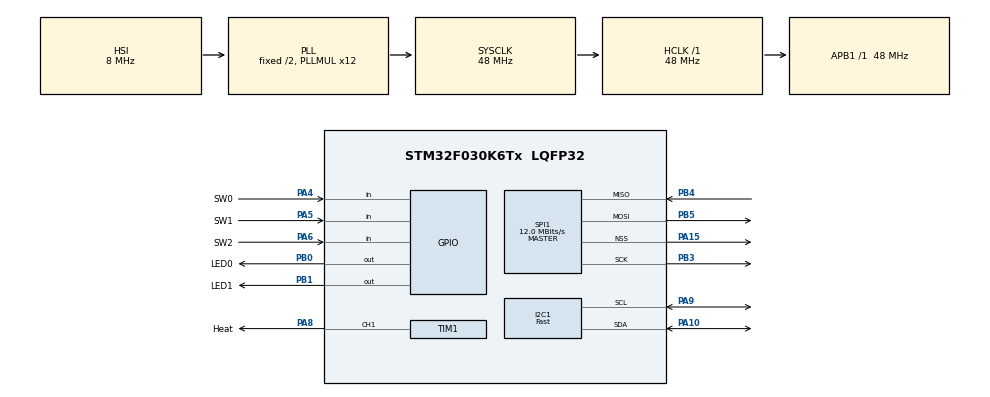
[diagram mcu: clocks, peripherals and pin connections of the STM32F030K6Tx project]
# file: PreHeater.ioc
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I2C1.I2C_Speed_Mode=I2C_Fast
I2C1.Timing=0x2010091A
Mcu.Family=STM32F0
Mcu.Name=STM32F030K6Tx
Mcu.Package=LQFP32
NVIC.TIM3_IRQn=true\:0\:0\:false\:false\:true\:true\:true
PA10.GPIO_PuPdOD=GPIO_NOPULL
PA10.Mode=I2C
PA10.Signal=I2C1_SDA
PA13.Mode=Serial_Wire
PA13.Signal=SYS_SWDIO
PA14.Mode=Serial_Wire
PA14.Signal=SYS_SWCLK
PA15.Mode=NSS_Signal_Hard_Output
PA15.Signal=SPI1_NSS
PA4.GPIO_Label=SW0
PA4.GPIO_PuPd=GPIO_PULLUP
PA4.Signal=GPIO_Input
PA5.GPIO_Label=SW1
PA5.GPIO_PuPd=GPIO_PULLUP
PA5.Signal=GPIO_Input
PA6.GPIO_Label=SW2
PA6.GPIO_PuPd=GPIO_PULLUP
PA6.Signal=GPIO_Input
PA8.GPIO_Label=Heat
PA8.GPIO_PuPd=GPIO_NOPULL
PA8.Signal=S_TIM1_CH1
PA9.GPIO_PuPdOD=GPIO_NOPULL
PA9.Mode=I2C
PA9.Signal=I2C1_SCL
PB0.GPIO_Label=LED0
PB0.Signal=GPIO_Output
PB1.GPIO_Label=LED1
PB1.Signal=GPIO_Output
PB3.Mode=Full_Duplex_Master
PB3.Signal=SPI1_SCK
PB4.GPIO_PuPd=GPIO_PULLUP
PB4.Mode=Full_Duplex_Master
PB4.Signal=SPI1_MISO
PB5.Mode=Full_Duplex_Master
PB5.Signal=SPI1_MOSI
ProjectManager.HeapSize=0x200
ProjectManager.StackSize=0x400
ProjectManager.TargetToolchain=STM32CubeIDE
RCC.AHBFreq_Value=48000000
RCC.APB1Freq_Value=48000000
RCC.APB1TimFreq_Value=48000000
RCC.HCLKFreq_Value=48000000
RCC.I2c1ClockSelection=RCC_I2C1CLKSOURCE_SYSCLK
RCC.PLLMUL=RCC_PLL_MUL12
RCC.SYSCLKFreq_VALUE=48000000
RCC.SYSCLKSource=RCC_SYSCLKSOURCE_PLLCLK
SH.S_TIM1_CH1.0=TIM1_CH1,PWM Generation1 CH1
SPI1.BaudRatePrescaler=SPI_BAUDRATEPRESCALER_4
SPI1.CalculateBaudRate=12.0 MBits/s
SPI1.DataSize=SPI_DATASIZE_8BIT
SPI1.Direction=SPI_DIRECTION_2LINES
SPI1.Mode=SPI_MODE_MASTER
SPI1.VirtualNSS=VM_NSSHARD
SPI1.VirtualType=VM_MASTER
TIM1.Channel-PWM\ Generation1\ CH1=TIM_CHANNEL_1
TIM1.Period=100-1
TIM1.Prescaler=0
TIM3.AutoReloadPreload=TIM_AUTORELOAD_PRELOAD_ENABLE
TIM3.Channel-Output\ Compare1\ No\ Output=TIM_CHANNEL_1
TIM3.Period=225-1
TIM3.Prescaler=32000-1
TIM3.Pulse-Output\ Compare1\ No\ Output=225-1
TIM3.TIM_MasterOutputTrigger=TIM_TRGO_UPDATE
VP_TIM1_VS_ClockSourceINT.Mode=Internal
VP_TIM3_VS_ClockSourceINT.Mode=Internal
VP_TIM3_VS_no_output1.Mode=Output Compare1 No Output
board=custom

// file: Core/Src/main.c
/* USER CODE BEGIN Header */
/**
  ******************************************************************************
  * @file           : main.c
  * @brief          : Main program body
  ******************************************************************************
  * @attention
  *
  * <h2><center>&copy; Copyright (c) 2020 STMicroelectronics.
  * All rights reserved.</center></h2>
  *
  * This software component is licensed by ST under BSD 3-Clause license,
  * the "License"; You may not use this file except in compliance with the
  * License. You may obtain a copy of the License at:
  *                        opensource.org/licenses/BSD-3-Clause
  *
  ******************************************************************************
  */
/* USER CODE END Header */
// test

#include "main.h"

/* USER CODE BEGIN Includes */
// https://github.com/olikraus/u8glib
// http://elastic-notes.blogspot.com/p/stm32-i2c-oled-ssd.html
// https://qiita.com/tlab/items/63cfce05881b63f4b782

#include "../u8glib/inc/u8g_arm.h"
#include "tmp75.h"
#include "pid.h"
/* USER CODE END Includes */

/* USER CODE BEGIN PD */
#define	LED0_ON()		HAL_GPIO_WritePin(LED0_GPIO_Port, LED0_Pin, GPIO_PIN_SET)
#define	LED0_OFF()		HAL_GPIO_WritePin(LED0_GPIO_Port, LED0_Pin, GPIO_PIN_RESET)
#define	LED1_ON()		HAL_GPIO_WritePin(LED1_GPIO_Port, LED1_Pin, GPIO_PIN_SET)
#define	LED1_OFF()		HAL_GPIO_WritePin(LED1_GPIO_Port, LED1_Pin, GPIO_PIN_RESET)

#define	SW0_Read()	HAL_GPIO_ReadPin(SW0_GPIO_Port, SW0_Pin)
#define	SW1_Read()	HAL_GPIO_ReadPin(SW1_GPIO_Port, SW1_Pin)
#define	SW2_Read()	HAL_GPIO_ReadPin(SW2_GPIO_Port, SW2_Pin)

#define	SV_Offset_X			64+20
#define	PV_Offset_X			10+20
#define	STAT_Offset_X			0

/* USER CODE END PD */

I2C_HandleTypeDef hi2c1;

SPI_HandleTypeDef hspi1;

TIM_HandleTypeDef htim1;
TIM_HandleTypeDef htim3;

/* USER CODE BEGIN PV */
 /* Private variables ---------------------------------------------------------*/
uint16_t	counter = 0;
uint16_t	PWM_DATA = 0;

volatile	uint8_t    PI_ACT = 0;
volatile	uint16_t		PI_Set_Temp = 0, PI_NowTemp = 0;
volatile	uint8_t		LED_Flag[2] = {0};
volatile	uint8_t		PV = 0;

volatile	uint8_t SW0 = 1;
volatile	uint8_t SW1 = 1;
volatile	uint8_t SW2 = 1;

static u8g_t u8g;
/* USER CODE END PV */

void SystemClock_Config(void);
static void MX_GPIO_Init(void);
static void MX_I2C1_Init(void);
static void MX_TIM1_Init(void);
static void MX_TIM3_Init(void);
static void MX_SPI1_Init(void);

/* USER CODE BEGIN 0 */

void HAL_TIM_OC_DelayElapsedCallback(TIM_HandleTypeDef *htim)
{

  if((htim->Instance == TIM3) && (htim->Channel == HAL_TIM_ACTIVE_CHANNEL_1)) {
    // タイムアウト処理
//	  PI_Set_Temp = 10000;							//40degC
//    PI_ACT = 1;

    PI_NowTemp = TMP75_GETTEMP();
    PI_Temp_Control(PI_ACT, PI_Set_Temp, PI_NowTemp);

    if(SW2 == 1)
    {
      SW2 = SW2_Read();   // 2nd acquision
      if(SW2 == 0)
      {
          // Push
    	  PI_ACT = !PI_ACT;
      }
    }

    if(SW0 == 1)
    {
      SW0 = SW0_Read();   // 2nd acquision
      if(SW0 == 0)
      {
          // Push
        if(PI_Set_Temp <= 1000)
        {
          PI_Set_Temp = 0;
        } else
        {
        	PI_Set_Temp = PI_Set_Temp - 1000;
        }
      }
    }

    if(SW1 == 1)
    {
      SW1 = SW1_Read();   // 2nd acquision
      if(SW1 == 0)
      {
          // Push
        PI_Set_Temp = PI_Set_Temp + 1000;
        if(PI_Set_Temp > PI_Temp_Max) PI_Set_Temp = PI_Temp_Max;
      }
    }

    SW0 = SW0_Read();
    SW1 = SW1_Read();
    SW2 = SW2_Read();

    u8g_FirstPage(&u8g);							// OLED描画
    do
    {
      draw();
      } while ( u8g_NextPage(&u8g) );
    //        u8g_Delay(10);

	  if(LED_Flag[0] && SW2_Read())
	  {
		  if(SW0_Read())		LED0_ON();
		  if(SW1_Read())		LED1_OFF();
		  LED_Flag[0] = 0;
	  } else
	  {
		  if(SW0_Read())		LED0_OFF();
		  if(SW1_Read())		LED1_ON();
		  LED_Flag[0] = 1;
	  }

  }
}

TIM_MasterConfigTypeDef sMasterConfig = {0};
TIM_OC_InitTypeDef sConfigOC = {0};

void PWM_OUT(uint16_t PWM_DAT)
{
//    TIM_HandleTypeDef htim1;
//    TIM_OC_InitTypeDef sConfigOC;

    uint32_t    PWM = 0;

    if (PWM_DAT>PWM_Period)	PWM = (uint32_t)PWM_Period;
    PWM = (uint32_t)PWM_DAT;

//    sConfigOC.Pulse = 100;	// TIM1.CCER.CC1Eまで勝手に変わっち�?って具合が悪�?
//   TIM1->CCR1 = (uint32_t)0x100;
   htim1.Instance->CCR1 = PWM;
}

void draw(void)
 {
    uint8_t		buff[16] = {0};
    uint16_t	work = 0;
//    uint16_t		temperature_data = 0.0;
//    u8g_SetFont(&u8g,u8g_font_profont17);//set current font
//-----------------------------------------------------------------------------------------------------
    u8g_SetFont(&u8g,u8g_font_5x8);//set current font

    u8g_DrawStr(&u8g, PV_Offset_X, 8, "NowTemp");//write string - you set coordinates and string
    u8g_DrawStr(&u8g, SV_Offset_X, 8, "SetTemp");//write string - you set coordinates and string
    u8g_DrawStr(&u8g, STAT_Offset_X, 32, "Pow : ");

//-----------------------------------------------------------------------------------------------------
    u8g_SetFont(&u8g,u8g_font_5x8);//set current font

    work = PI_NowTemp % 100;
    sprintf(buff, "%02d", work);
    u8g_DrawStr(&u8g, PV_Offset_X+31, 25, buff);

    work = PI_Set_Temp % 100;
    sprintf(buff, "%02d", work);
    u8g_DrawStr(&u8g, SV_Offset_X+31 , 25, buff);

//-----------------------------------------------------------------------------------------------------
    u8g_SetFont(&u8g,u8g_font_10x20);//set current font

//    itoa(temperature_data, buff, 10);

    work = PI_NowTemp / 100;
    sprintf(buff, "%3d", work);				// PV表示
    u8g_DrawStr(&u8g, PV_Offset_X, 25, buff);//write string - you set coordinates and string

    work = PI_Set_Temp / 100;
    sprintf(buff, "%3d", work);				// SV表示
    u8g_DrawStr(&u8g, SV_Offset_X, 25, buff);//write string - you set coordinates and string

//    u8g_DrawBox(&u8g, PV_Offset_X, 29, PV_Offset_X+(PWM_SetValue*0.9), 3);		//X,Y,width,height draw some box
    u8g_DrawBox(&u8g, PV_Offset_X, 29, 2+(PWM_SetValue*0.8), 3);		//X,Y,width,height draw some box

//-----------------------------------------------------------------------------------------------------
    u8g_SetFont(&u8g,u8g_font_10x20);//set current font

    if(PI_ACT)
    {
    	u8g_DrawStr(&u8g, STAT_Offset_X, 16, "ON");
    }

 }
/* USER CODE END 0 */

int main(void)
{

  /* MCU Configuration--------------------------------------------------------*/

  /* Reset of all peripherals, Initializes the Flash interface and the Systick. */
  HAL_Init();

  /* Configure the system clock */
  SystemClock_Config();

  /* Initialize all configured peripherals */
  MX_GPIO_Init();
  MX_I2C1_Init();
  MX_TIM1_Init();
  MX_TIM3_Init();
  MX_SPI1_Init();
  /* USER CODE BEGIN 2 */
  TMP75_INIT();
//  TMP75_STARTACQ();
  HAL_TIM_Base_Start_IT(&htim3);

  u8g_InitComFn(&u8g, &u8g_dev_ssd1306_128x32_i2c, u8g_com_hw_i2c_fn); //here we init our u8glib driver
  HAL_TIM_PWM_Start(&htim1, TIM_CHANNEL_1);

  __HAL_TIM_CLEAR_FLAG(&htim3, TIM_FLAG_UPDATE);
  HAL_TIM_OC_Start_IT(&htim3, TIM_CHANNEL_1);
  /* USER CODE END 2 */

  /* Infinite loop */
  /* USER CODE BEGIN WHILE */
//  PWM_OUT(0x80);
  PI_Set_Temp = 0;
  PI_ACT = 0;

  while (1)
  {
    /* USER CODE END WHILE */

    /* USER CODE BEGIN 3 */

	  for (counter = 0; counter<100; counter++)
	  {
//		  PWM_OUT(counter);
		  PWM_DATA = counter;
//		  HAL_Delay(1);
	  }
  }
  /* USER CODE END 3 */
}

void SystemClock_Config(void)
{
  RCC_OscInitTypeDef RCC_OscInitStruct = {0};
  RCC_ClkInitTypeDef RCC_ClkInitStruct = {0};
  RCC_PeriphCLKInitTypeDef PeriphClkInit = {0};

  /** Initializes the CPU, AHB and APB busses clocks
  */
  RCC_OscInitStruct.OscillatorType = RCC_OSCILLATORTYPE_HSI;
  RCC_OscInitStruct.HSIState = RCC_HSI_ON;
  RCC_OscInitStruct.HSICalibrationValue = RCC_HSICALIBRATION_DEFAULT;
  RCC_OscInitStruct.PLL.PLLState = RCC_PLL_ON;
  RCC_OscInitStruct.PLL.PLLSource = RCC_PLLSOURCE_HSI;
  RCC_OscInitStruct.PLL.PLLMUL = RCC_PLL_MUL12;
  RCC_OscInitStruct.PLL.PREDIV = RCC_PREDIV_DIV1;
  if (HAL_RCC_OscConfig(&RCC_OscInitStruct) != HAL_OK)
  {
    Error_Handler();
  }
  /** Initializes the CPU, AHB and APB busses clocks
  */
  RCC_ClkInitStruct.ClockType = RCC_CLOCKTYPE_HCLK|RCC_CLOCKTYPE_SYSCLK
                              |RCC_CLOCKTYPE_PCLK1;
  RCC_ClkInitStruct.SYSCLKSource = RCC_SYSCLKSOURCE_PLLCLK;
  RCC_ClkInitStruct.AHBCLKDivider = RCC_SYSCLK_DIV1;
  RCC_ClkInitStruct.APB1CLKDivider = RCC_HCLK_DIV1;

  if (HAL_RCC_ClockConfig(&RCC_ClkInitStruct, FLASH_LATENCY_1) != HAL_OK)
  {
    Error_Handler();
  }
  PeriphClkInit.PeriphClockSelection = RCC_PERIPHCLK_I2C1;
  PeriphClkInit.I2c1ClockSelection = RCC_I2C1CLKSOURCE_SYSCLK;
  if (HAL_RCCEx_PeriphCLKConfig(&PeriphClkInit) != HAL_OK)
  {
    Error_Handler();
  }
}

static void MX_I2C1_Init(void)
{

  hi2c1.Instance = I2C1;
  hi2c1.Init.Timing = 0x2010091A;
  hi2c1.Init.OwnAddress1 = 0;
  hi2c1.Init.AddressingMode = I2C_ADDRESSINGMODE_7BIT;
  hi2c1.Init.DualAddressMode = I2C_DUALADDRESS_DISABLE;
  hi2c1.Init.OwnAddress2 = 0;
  hi2c1.Init.OwnAddress2Masks = I2C_OA2_NOMASK;
  hi2c1.Init.GeneralCallMode = I2C_GENERALCALL_DISABLE;
  hi2c1.Init.NoStretchMode = I2C_NOSTRETCH_DISABLE;
  if (HAL_I2C_Init(&hi2c1) != HAL_OK)
  {
    Error_Handler();
  }
  /** Configure Analogue filter
  */
  if (HAL_I2CEx_ConfigAnalogFilter(&hi2c1, I2C_ANALOGFILTER_ENABLE) != HAL_OK)
  {
    Error_Handler();
  }
  /** Configure Digital filter
  */
  if (HAL_I2CEx_ConfigDigitalFilter(&hi2c1, 0) != HAL_OK)
  {
    Error_Handler();
  }

}

static void MX_SPI1_Init(void)
{

  /* SPI1 parameter configuration*/
  hspi1.Instance = SPI1;
  hspi1.Init.Mode = SPI_MODE_MASTER;
  hspi1.Init.Direction = SPI_DIRECTION_2LINES;
  hspi1.Init.DataSize = SPI_DATASIZE_8BIT;
  hspi1.Init.CLKPolarity = SPI_POLARITY_LOW;
  hspi1.Init.CLKPhase = SPI_PHASE_1EDGE;
  hspi1.Init.NSS = SPI_NSS_HARD_OUTPUT;
  hspi1.Init.BaudRatePrescaler = SPI_BAUDRATEPRESCALER_4;
  hspi1.Init.FirstBit = SPI_FIRSTBIT_MSB;
  hspi1.Init.TIMode = SPI_TIMODE_DISABLE;
  hspi1.Init.CRCCalculation = SPI_CRCCALCULATION_DISABLE;
  hspi1.Init.CRCPolynomial = 7;
  hspi1.Init.CRCLength = SPI_CRC_LENGTH_DATASIZE;
  hspi1.Init.NSSPMode = SPI_NSS_PULSE_ENABLE;
  if (HAL_SPI_Init(&hspi1) != HAL_OK)
  {
    Error_Handler();
  }

}

static void MX_TIM1_Init(void)
{

  TIM_ClockConfigTypeDef sClockSourceConfig = {0};
  TIM_MasterConfigTypeDef sMasterConfig = {0};
  TIM_OC_InitTypeDef sConfigOC = {0};
  TIM_BreakDeadTimeConfigTypeDef sBreakDeadTimeConfig = {0};

  htim1.Instance = TIM1;
  htim1.Init.Prescaler = 0;
  htim1.Init.CounterMode = TIM_COUNTERMODE_UP;
  htim1.Init.Period = 100-1;
  htim1.Init.ClockDivision = TIM_CLOCKDIVISION_DIV1;
  htim1.Init.RepetitionCounter = 0;
  htim1.Init.AutoReloadPreload = TIM_AUTORELOAD_PRELOAD_DISABLE;
  if (HAL_TIM_Base_Init(&htim1) != HAL_OK)
  {
    Error_Handler();
  }
  sClockSourceConfig.ClockSource = TIM_CLOCKSOURCE_INTERNAL;
  if (HAL_TIM_ConfigClockSource(&htim1, &sClockSourceConfig) != HAL_OK)
  {
    Error_Handler();
  }
  if (HAL_TIM_PWM_Init(&htim1) != HAL_OK)
  {
    Error_Handler();
  }
  sMasterConfig.MasterOutputTrigger = TIM_TRGO_RESET;
  sMasterConfig.MasterSlaveMode = TIM_MASTERSLAVEMODE_DISABLE;
  if (HAL_TIMEx_MasterConfigSynchronization(&htim1, &sMasterConfig) != HAL_OK)
  {
    Error_Handler();
  }
  sConfigOC.OCMode = TIM_OCMODE_PWM1;
  sConfigOC.Pulse = 0;
  sConfigOC.OCPolarity = TIM_OCPOLARITY_HIGH;
  sConfigOC.OCNPolarity = TIM_OCNPOLARITY_HIGH;
  sConfigOC.OCFastMode = TIM_OCFAST_DISABLE;
  sConfigOC.OCIdleState = TIM_OCIDLESTATE_RESET;
  sConfigOC.OCNIdleState = TIM_OCNIDLESTATE_RESET;
  if (HAL_TIM_PWM_ConfigChannel(&htim1, &sConfigOC, TIM_CHANNEL_1) != HAL_OK)
  {
    Error_Handler();
  }
  sBreakDeadTimeConfig.OffStateRunMode = TIM_OSSR_DISABLE;
  sBreakDeadTimeConfig.OffStateIDLEMode = TIM_OSSI_DISABLE;
  sBreakDeadTimeConfig.LockLevel = TIM_LOCKLEVEL_OFF;
  sBreakDeadTimeConfig.DeadTime = 0;
  sBreakDeadTimeConfig.BreakState = TIM_BREAK_DISABLE;
  sBreakDeadTimeConfig.BreakPolarity = TIM_BREAKPOLARITY_HIGH;
  sBreakDeadTimeConfig.AutomaticOutput = TIM_AUTOMATICOUTPUT_DISABLE;
  if (HAL_TIMEx_ConfigBreakDeadTime(&htim1, &sBreakDeadTimeConfig) != HAL_OK)
  {
    Error_Handler();
  }
  /* USER CODE BEGIN TIM1_Init 2 */
 // htim1.Init.Period = PWM_Period;
 // if (HAL_TIM_Base_Init(&htim1) != HAL_OK)
 // {
 // Error_Handler();
//  }
  /* USER CODE END TIM1_Init 2 */
  HAL_TIM_MspPostInit(&htim1);

}

static void MX_TIM3_Init(void)
{

  TIM_ClockConfigTypeDef sClockSourceConfig = {0};
  TIM_MasterConfigTypeDef sMasterConfig = {0};
  TIM_OC_InitTypeDef sConfigOC = {0};

  htim3.Instance = TIM3;
  htim3.Init.Prescaler = 32000-1;
  htim3.Init.CounterMode = TIM_COUNTERMODE_UP;
  htim3.Init.Period = 225-1;
  htim3.Init.ClockDivision = TIM_CLOCKDIVISION_DIV1;
  htim3.Init.AutoReloadPreload = TIM_AUTORELOAD_PRELOAD_ENABLE;
  if (HAL_TIM_Base_Init(&htim3) != HAL_OK)
  {
    Error_Handler();
  }
  sClockSourceConfig.ClockSource = TIM_CLOCKSOURCE_INTERNAL;
  if (HAL_TIM_ConfigClockSource(&htim3, &sClockSourceConfig) != HAL_OK)
  {
    Error_Handler();
  }
  if (HAL_TIM_OC_Init(&htim3) != HAL_OK)
  {
    Error_Handler();
  }
  sMasterConfig.MasterOutputTrigger = TIM_TRGO_UPDATE;
  sMasterConfig.MasterSlaveMode = TIM_MASTERSLAVEMODE_DISABLE;
  if (HAL_TIMEx_MasterConfigSynchronization(&htim3, &sMasterConfig) != HAL_OK)
  {
    Error_Handler();
  }
  sConfigOC.OCMode = TIM_OCMODE_TIMING;
  sConfigOC.Pulse = 225-1;
  sConfigOC.OCPolarity = TIM_OCPOLARITY_HIGH;
  sConfigOC.OCFastMode = TIM_OCFAST_DISABLE;
  if (HAL_TIM_OC_ConfigChannel(&htim3, &sConfigOC, TIM_CHANNEL_1) != HAL_OK)
  {
    Error_Handler();
  }

}

static void MX_GPIO_Init(void)
{
  GPIO_InitTypeDef GPIO_InitStruct = {0};

  /* GPIO Ports Clock Enable */
  __HAL_RCC_GPIOA_CLK_ENABLE();
  __HAL_RCC_GPIOB_CLK_ENABLE();

  /*Configure GPIO pin Output Level */
  HAL_GPIO_WritePin(GPIOB, LED0_Pin|LED1_Pin, GPIO_PIN_RESET);

  /*Configure GPIO pins : SW0_Pin SW1_Pin SW2_Pin */
  GPIO_InitStruct.Pin = SW0_Pin|SW1_Pin|SW2_Pin;
  GPIO_InitStruct.Mode = GPIO_MODE_INPUT;
  GPIO_InitStruct.Pull = GPIO_PULLUP;
  HAL_GPIO_Init(GPIOA, &GPIO_InitStruct);

  /*Configure GPIO pins : LED0_Pin LED1_Pin */
  GPIO_InitStruct.Pin = LED0_Pin|LED1_Pin;
  GPIO_InitStruct.Mode = GPIO_MODE_OUTPUT_PP;
  GPIO_InitStruct.Pull = GPIO_NOPULL;
  GPIO_InitStruct.Speed = GPIO_SPEED_FREQ_LOW;
  HAL_GPIO_Init(GPIOB, &GPIO_InitStruct);

}

void Error_Handler(void)
{
}

/************************ (C) COPYRIGHT STMicroelectronics *****END OF FILE****/
